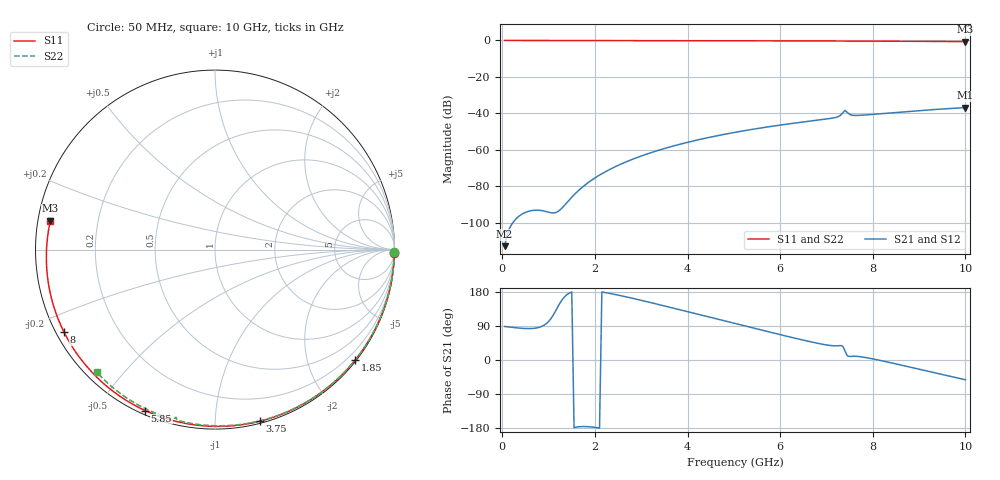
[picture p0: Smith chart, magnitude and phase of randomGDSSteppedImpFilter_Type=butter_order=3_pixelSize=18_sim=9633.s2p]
! freq	dB(S11)	phase(S11)	dB(S12)	phase(S12)
!  dB(S21)	phase(S21)	dB(S22)	phase(S22)
!S-par simulation data
#  GHz  S  DB  R 50
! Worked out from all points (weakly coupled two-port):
!   200 points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, 50 MHz to 10 GHz, reference 50 ohm
!   highest |S21| = -36.82 dB at 10 GHz (marker M1); lowest = -112.9 dB at 50 MHz (marker M2)
!   lowest |S11| = -0.6 dB at 10 GHz (marker M3), VSWR 28.10, Z = 1.79 + j4.33 ohm
!   |S11| at or under -10 dB: nowhere
!   |S22| runs from -0.5 to 0.0 dB; largest |S21 - S12| = 0
!   S11 on the Smith chart (normalised r, x): 50 MHz: open; 1.85 GHz: 0.03, -2.88; 3.75 GHz: 0.02, -1.29; 5.85 GHz: 0.02, -0.66; 8 GHz: 0.02, -0.25; 10 GHz: 0.04, +0.09
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0.05  -0.00 -1.1  -112.86 88.5  -112.86 88.5  -0.00 -0.8
0.85  -0.02 -17.8  -93.34 88.6  -93.34 88.6  -0.01 -13.0
1.75  -0.05 -36.3  -80.04 -175.6  -80.04 -175.6  -0.03 -26.6
1.85  -0.05 -38.3  -78.07 -176.0  -78.07 -176.0  -0.04 -28.1
2.15  -0.06 -44.4  -73.12 179.5  -73.12 179.5  -0.04 -32.5
2.5  -0.07 -51.3  -68.54 171.3  -68.54 171.3  -0.05 -37.7
2.9  -0.08 -59.2  -64.32 160.4  -64.32 160.4  -0.06 -43.5
3.4  -0.09 -68.8  -60.04 145.7  -60.04 145.7  -0.07 -50.6
3.75  -0.10 -75.4  -57.52 135.2  -57.52 135.2  -0.08 -55.5
4.4  -0.13 -87.5  -53.55 115.3  -53.55 115.3  -0.09 -64.5
5.05  -0.15 -99.3  -50.29 95.4  -50.29 95.4  -0.11 -73.3
5.85  -0.20 -113.5  -46.98 71.3  -46.98 71.3  -0.14 -83.7
6.7  -0.25 -128.4  -44.07 46.9  -44.07 46.9  -0.18 -94.5
7.25  -0.30 -138.1  -41.84 37.6  -41.84 37.6  -0.23 -101.6
7.3  -0.31 -139.0  -41.12 38.2  -41.12 38.2  -0.25 -102.3
7.4  -0.31 -140.7  -38.39 23.9  -38.39 23.9  -0.36 -103.1
7.5  -0.32 -142.5  -40.56 9.3  -40.56 9.3  -0.27 -103.9
7.55  -0.32 -143.4  -40.99 9.8  -40.99 9.8  -0.25 -104.6
8  -0.37 -151.4  -40.55 3.0  -40.55 3.0  -0.27 -110.2
8.35  -0.40 -157.8  -39.79 -6.2  -39.79 -6.2  -0.29 -114.4
9.2  -0.51 -173.8  -38.13 -29.8  -38.13 -29.8  -0.37 -124.5
10  -0.62 170.1  -36.82 -52.2  -36.82 -52.2  -0.45 -133.9
